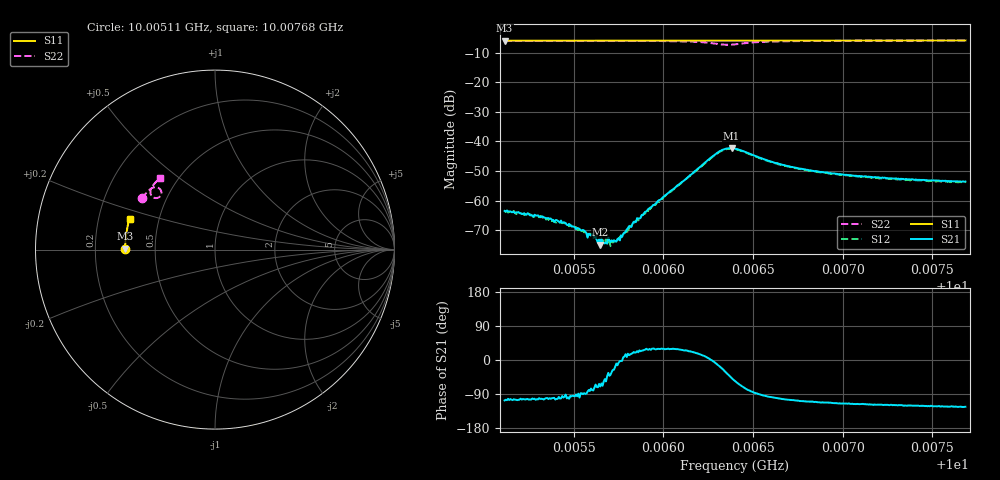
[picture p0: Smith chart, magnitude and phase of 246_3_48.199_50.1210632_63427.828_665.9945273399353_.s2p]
#  HZ  S  RI  R  50.00
! Rohde & Schwarz Vector Network Analyzer
! Rohde-Schwarz,ZNB20-2Port,1311601062101988,3.16
! Created: UTC 3/20/2024, 11:47:04 AM
! freq[Hz]  re:S11  im:S11  re:S21  im:S21  re:S12  im:S12  re:S22  im:S22
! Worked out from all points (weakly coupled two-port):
!   401 points, 10.00511 GHz to 10.00768 GHz, reference 50 ohm
!   highest |S21| = -42.29 dB at 10.00638 GHz (marker M1); lowest = -74.8 dB at 10.00565 GHz (marker M2)
!   lowest |S11| = -6.0 dB at 10.00511 GHz (marker M3), VSWR 3.00, Z = 16.7 + j0.228 ohm
!   |S11| at or under -10 dB: nowhere
!   |S22| runs from -7.4 to -6.0 dB; largest |S21 - S12| = 0.00046
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1.0005115e10  -0.4998 0.00512  -0.000193 -0.000644  -0.000169 -0.000648  -0.405 0.2848
1.0005327e10  -0.4999 0.0189  -0.000121 -0.000526  -7.62e-05 -0.00051  -0.3968 0.2972
1.0005391e10  -0.4999 0.0231  -7.47e-05 -0.000431  -2.47e-05 -0.000449  -0.3941 0.301
1.0005455e10  -0.4999 0.0273  -9.36e-06 -0.000417  -6.19e-05 -0.000402  -0.3913 0.3049
1.0005545e10  -0.4996 0.0331  1.21e-05 -0.000315  4.98e-05 -0.000302  -0.3871 0.3105
1.0005584e10  -0.4995 0.0356  5.08e-05 -0.000271  6.53e-05 -0.000253  -0.3853 0.3128
1.0005609e10  -0.4995 0.0373  4.34e-05 -0.000254  5.62e-05 -0.000227  -0.384 0.3143
1.0005648e10  -0.4994 0.0398  6.24e-05 -0.00017  0.000122 -0.000194  -0.3822 0.3167
1.0005674e10  -0.4993 0.0415  0.000121 -0.000146  0.000151 -0.00013  -0.3807 0.3182
1.0005699e10  -0.4994 0.0431  0.000161 -0.000143  0.000156 -0.000122  -0.3794 0.3199
1.0005732e10  -0.499 0.0452  0.000197 -6.35e-05  0.000205 -7.19e-05  -0.3775 0.3219
1.0005757e10  -0.499 0.0469  0.000213 -1.1e-05  0.000239 -3.14e-05  -0.376 0.3236
1.0005841e10  -0.4986 0.0523  0.000418 0.000147  0.000394 0.000176  -0.3708 0.329
1.0005976e10  -0.4979 0.061  0.000893 0.0005  0.000796 0.000518  -0.3601 0.3382
1.0006291e10  -0.4949 0.0812  0.00602 -0.000825  0.00594 -0.000502  -0.3012 0.3292
1.0006336e10  -0.4945 0.0839  0.00657 -0.00319  0.00654 -0.00292  -0.3001 0.3071
1.0006381e10  -0.4942 0.0865  0.00519 -0.00567  0.00541 -0.00526  -0.316 0.2895
1.00064e10  -0.4941 0.0876  0.00427 -0.00623  0.00445 -0.00589  -0.3255 0.2868
1.0006638e10  -0.4922 0.1029  -0.000796 -0.0042  -0.000584 -0.00409  -0.3589 0.3294
1.000683e10  -0.4899 0.1151  -0.00108 -0.00302  -0.000965 -0.00299  -0.3504 0.3499
1.0007261e10  -0.4837 0.1422  -0.00116 -0.00207  -0.00103 -0.00209  -0.3285 0.3774
1.0007685e10  -0.4762 0.1685  -0.00116 -0.00175  -0.0011 -0.00175  -0.3068 0.3981
